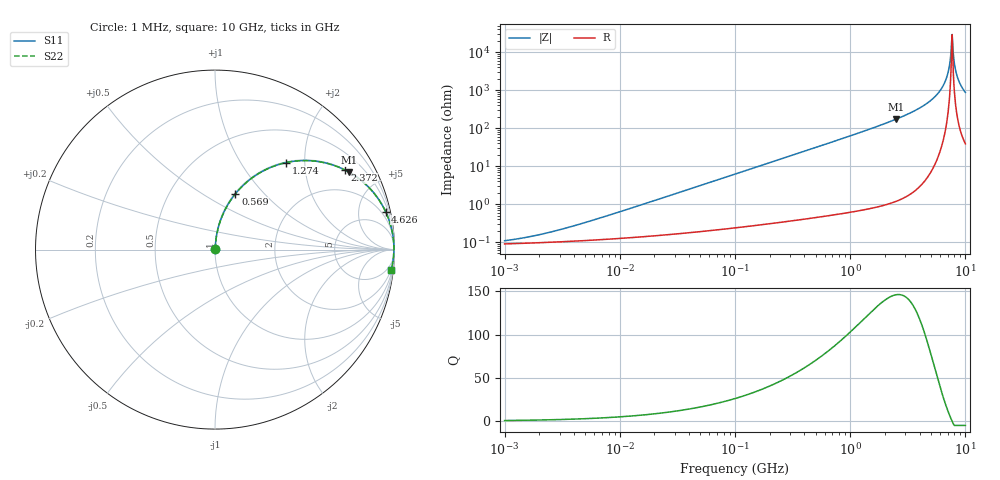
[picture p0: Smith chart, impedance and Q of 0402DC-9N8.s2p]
# MHz  S  MA  R  50
!Freq  MagS11  AngS11  MagS21  AngS21  MagS12  AngS12  MagS22  AngS22
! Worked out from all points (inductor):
!   801 points, 1 MHz to 10 GHz, reference 50 ohm
!   read as one part in series: L = 9.8 nH near 5.433 MHz
!   highest Q = 146 at 2.513 GHz (marker M1), where L = 11 nH
!   self-resonance near 7.589 GHz
!   S11 on the Smith chart (normalised r, x): 1 MHz: 1.00, +0.00; 569 MHz: 1.01, +0.70; 1.274 GHz: 1.01, +1.61; 2.372 GHz: 1.02, +3.23; 4.626 GHz: 1.10, +8.96; 10 GHz: 2, -18
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1  0.001084 34.6  0.9991 -0.0  0.9991 -0.0  0.001084 34.6
4.67769  0.003074 69.2  0.9989 -0.2  0.9989 -0.2  0.003074 69.2
21.6303  0.01338 82.9  0.9984 -0.8  0.9984 -0.8  0.01338 82.9
100.0216  0.06138 84.3  0.9958 -3.5  0.9958 -3.5  0.06138 84.3
467.8699  0.2767 73.1  0.9569 -16.1  0.9569 -16.1  0.2767 73.1
569.0221  0.331 69.9  0.9393 -19.3  0.9393 -19.3  0.331 69.9
1273.93  0.6253 50.8  0.7751 -38.7  0.7751 -38.7  0.6253 50.8
2163.497  0.8201 34.5  0.5665 -55.1  0.5665 -55.1  0.8201 34.5
2372.237  0.8477 31.6  0.5247 -58.0  0.5247 -58.0  0.8477 31.6
2512.808  0.8637 29.9  0.4982 -59.7  0.4982 -59.7  0.8637 29.9
4625.639  0.9738 12.6  0.2174 -76.8  0.2174 -76.8  0.9738 12.6
5625.689  0.9888 7.6  0.1317 -81.4  0.1317 -81.4  0.9888 7.6
6459.197  0.9946 4.2  0.07258 -83.7  0.07258 -83.7  0.9946 4.2
6921.177  0.9961 2.5  0.0433 -83.6  0.0433 -83.6  0.9961 2.5
7164.414  0.9965 1.6  0.02875 -82.3  0.02875 -82.3  0.9965 1.6
7416.199  0.9967 0.8  0.01434 -76.3  0.01434 -76.3  0.9967 0.8
7676.832  0.9967 -0.0  0.003392 10.2  0.003392 10.2  0.9967 -0.0
7946.626  0.9964 -0.9  0.01558 76.2  0.01558 76.2  0.9964 -0.9
8225.901  0.9959 -1.7  0.02999 81.3  0.02999 81.3  0.9959 -1.7
8613.594  0.9949 -2.8  0.04939 82.6  0.04939 82.6  0.9949 -2.8
9229.662  0.9925 -4.5  0.07862 82.3  0.07862 82.3  0.9925 -4.5
10000  0.9887 -6.5  0.1127 81.0  0.1127 81.0  0.9887 -6.5
